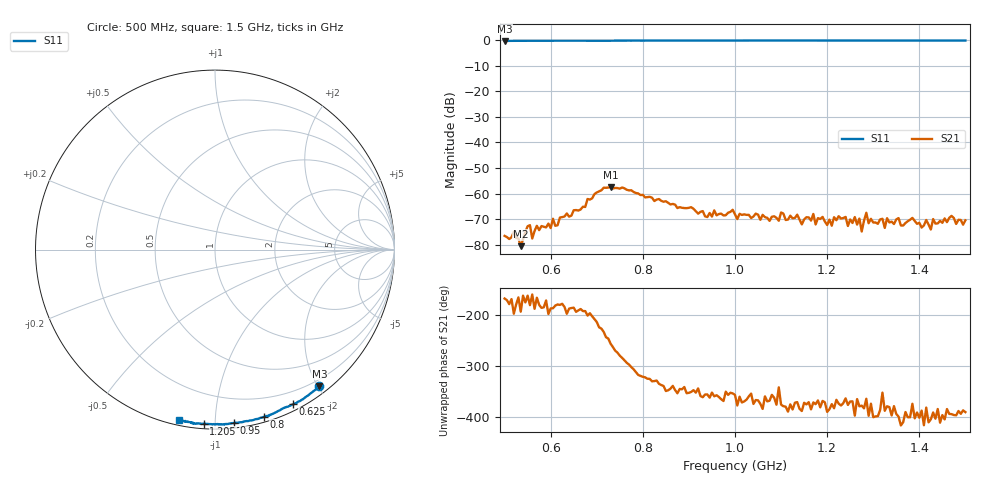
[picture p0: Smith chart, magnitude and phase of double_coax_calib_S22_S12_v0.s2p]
# HZ S RI R 50
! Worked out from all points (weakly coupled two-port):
!   201 points, 500 MHz to 1.5 GHz, reference 50 ohm
!   highest |S21| = -57.51 dB at 730 MHz (marker M1); lowest = -80.5 dB at 535 MHz (marker M2)
!   lowest |S11| = -0.4 dB at 500 MHz (marker M3), VSWR 45.45, Z = 5.6 - j101 ohm
!   |S11| at or under -10 dB: nowhere
!   S12 and S22 are empty: the file has one direction only
!   S11 on the Smith chart (normalised r, x): 500 MHz: 0.11, -2.02; 625 MHz: 0.06, -1.63; 800 MHz: 0.04, -1.33; 950 MHz: 0.03, -1.12; 1.205 GHz: 0.03, -0.94; 1.5 GHz: 0.02, -0.81
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5e8  0.5814 -0.76  -0.000146 -3.29e-05  0 0  0 0
5.35e8  0.5359 -0.7983  -9.19e-05 2.13e-05  0 0  0 0
5.5e8  0.5164 -0.8142  -0.000219 -7.29e-05  0 0  0 0
5.6e8  0.5049 -0.822  -0.000125 -4.68e-05  0 0  0 0
5.7e8  0.4922 -0.8315  -0.000228 -5.85e-05  0 0  0 0
6.25e8  0.4363 -0.8622  -0.000348 -1.45e-05  0 0  0 0
6.7e8  0.3989 -0.8764  -0.000544 0.000115  0 0  0 0
7.3e8  0.3514 -0.8999  -0.000326 0.00129  0 0  0 0
8e8  0.2732 -0.9321  0.000734 0.000597  0 0  0 0
8.35e8  0.2276 -0.9445  0.000708 0.000337  0 0  0 0
9.5e8  0.1064 -0.9665  0.000353 5.07e-05  0 0  0 0
1e9  0.0793 -0.9697  0.000394 2.5e-05  0 0  0 0
1.145e9  -0.00796 -0.972  0.000222 -0.000118  0 0  0 0
1.17e9  -0.0297 -0.9722  0.000394 -7.73e-05  0 0  0 0
1.175e9  -0.0334 -0.972  0.000242 -6.28e-05  0 0  0 0
1.205e9  -0.0628 -0.9699  0.000284 -0.000129  0 0  0 0
1.27e9  -0.1049 -0.9695  0.000309 -0.000105  0 0  0 0
1.275e9  -0.1089 -0.9706  0.000174 -5.45e-05  0 0  0 0
1.285e9  -0.1107 -0.9703  0.000423 -2.95e-05  0 0  0 0
1.29e9  -0.1111 -0.9696  0.00021 -0.00016  0 0  0 0
1.335e9  -0.1256 -0.9671  0.000257 -9.53e-05  0 0  0 0
1.5e9  -0.2024 -0.951  0.000261 -0.000151  0 0  0 0
